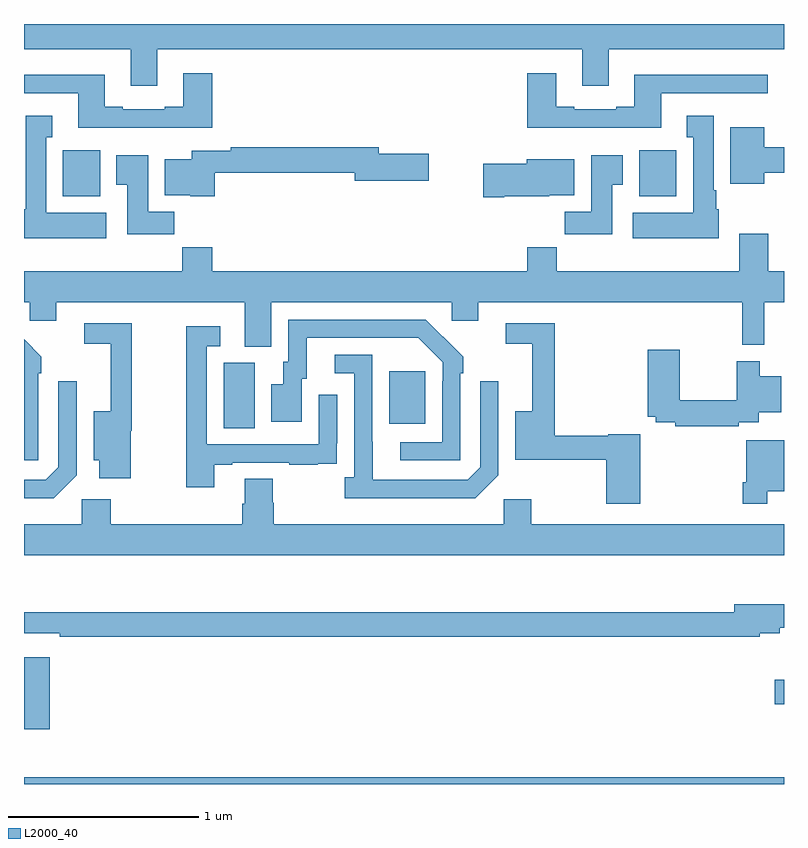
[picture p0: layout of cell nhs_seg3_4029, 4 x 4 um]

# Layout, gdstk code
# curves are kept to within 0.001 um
import gdstk
lib = gdstk.Library(unit=1e-6, precision=1e-09)
def R(c, l, rs):  # rectangles x0, y0, x1, y1
    for r in rs: c.add(gdstk.rectangle(r[:2], r[2:], *l))
def P(c, l, *ps):  # polygons
    for p in ps: c.add(gdstk.Polygon(p, *l))
L2000_40 = (2000, 40)

nhs_seg3_4029 = lib.new_cell('nhs_seg3_4029')
R(nhs_seg3_4029, L2000_40, [(323,678.4,327,678.436), (323,678.687,323.135,679.068), (326.952,678.82,327,678.949), (324.05,680.272,324.214,680.616), (324.923,680.297,325.111,680.572), (323.204,681.494,323.401,681.736), (326.237,681.494,326.434,681.736)])
P(nhs_seg3_4029, L2000_40, [(323.701,682.268),(325.937,682.268),(325.937,682.074),(326.077,682.074),(326.077,682.268),(327,682.268),(327,682.4),(323,682.4),(323,682.268),(323.561,682.268),(323.561,682.074),(323.701,682.074)],
  [(323.99,682.141),(323.837,682.141),(323.837,681.964),(323.741,681.964),(323.741,681.951),(323.521,681.951),(323.521,681.964),(323.425,681.964),(323.425,682.132),(323,682.132),(323,682.035),(323.285,682.035),(323.285,681.854),(323.99,681.854)],
  [(326.353,682.035),(326.914,682.035),(326.914,682.132),(326.213,682.132),(326.213,681.964),(326.117,681.964),(326.117,681.951),(325.897,681.951),(325.897,681.964),(325.801,681.964),(325.801,682.141),(325.649,682.141),(325.649,681.854),(326.353,681.854)],
  [(323.434,681.406),(323.116,681.406),(323.116,681.803),(323.149,681.803),(323.149,681.916),(323.009,681.916),(323.009,681.426),(323,681.426),(323,681.272),(323.434,681.272)],
  [(326.656,681.426),(326.644,681.426),(326.644,681.526),(326.629,681.526),(326.629,681.916),(326.489,681.916),(326.489,681.803),(326.522,681.803),(326.522,681.406),(326.205,681.406),(326.205,681.272),(326.656,681.272)],
  [(326.896,681.616),(327,681.616),(327,681.752),(326.896,681.752),(326.896,681.856),(326.717,681.856),(326.717,681.56),(326.896,681.56)],
  [(324.005,681.616),(324.74,681.616),(324.74,681.574),(325.129,681.574),(325.129,681.716),(324.868,681.716),(324.868,681.752),(324.088,681.752),(324.088,681.732),(323.882,681.732),(323.882,681.688),(323.741,681.688),(323.741,681.5),(323.874,681.5),(323.874,681.494),(324.005,681.494)],
  [(326.095,681.553),(326.152,681.553),(326.152,681.709),(325.985,681.709),(325.985,681.412),(325.846,681.412),(325.846,681.294),(326.095,681.294)],
  [(323.792,681.412),(323.653,681.412),(323.653,681.709),(323.486,681.709),(323.486,681.553),(323.543,681.553),(323.543,681.294),(323.792,681.294)],
  [(325.528,681.494),(325.764,681.494),(325.764,681.5),(325.897,681.5),(325.897,681.688),(325.646,681.688),(325.646,681.665),(325.416,681.665),(325.416,681.487),(325.528,681.487)],
  [(324.301,680.936),(325.251,680.936),(325.251,680.838),(325.39,680.838),(325.39,680.936),(326.779,680.936),(326.779,680.711),(326.897,680.711),(326.897,680.936),(327,680.936),(327,681.1),(326.918,681.1),(326.918,681.295),(326.765,681.295),(326.765,681.1),(325.805,681.1),(325.805,681.224),(325.649,681.224),(325.649,681.1),(323.99,681.1),(323.99,681.224),(323.833,681.224),(323.833,681.1),(323,681.1),(323,680.936),(323.031,680.936),(323.031,680.838),(323.17,680.838),(323.17,680.936),(324.161,680.936),(324.161,680.701),(324.301,680.701)],
  [(325.296,680.561),(325.311,680.561),(325.311,680.649),(325.114,680.844),(324.39,680.844),(324.39,680.622),(324.365,680.622),(324.365,680.503),(324.302,680.503),(324.302,680.307),(324.463,680.307),(324.463,680.532),(324.487,680.532),(324.487,680.748),(325.075,680.748),(325.203,680.619),(325.203,680.519),(325.2,680.519),(325.2,680.199),(324.981,680.199),(324.981,680.103),(325.296,680.103)],
  [(326.243,680.242),(326.076,680.242),(326.076,680.234),(325.793,680.234),(325.793,680.826),(325.536,680.826),(325.536,680.718),(325.676,680.718),(325.676,680.362),(325.586,680.362),(325.586,680.106),(326.065,680.106),(326.065,679.875),(326.243,679.875)],
  [(323.562,680.258),(323.566,680.258),(323.566,680.826),(323.316,680.826),(323.316,680.718),(323.456,680.718),(323.456,680.362),(323.366,680.362),(323.366,680.105),(323.396,680.105),(323.396,680.01),(323.562,680.01)],
  [(324.001,680.079),(324.097,680.079),(324.097,680.091),(324.397,680.091),(324.397,680.079),(324.545,680.079),(324.545,680.085),(324.647,680.085),(324.647,680.194),(324.648,680.194),(324.648,680.449),(324.552,680.449),(324.552,680.187),(323.961,680.187),(323.961,680.703),(324.034,680.703),(324.034,680.809),(323.853,680.809),(323.853,679.962),(324.001,679.962)],
  [(323.076,680.561),(323.091,680.561),(323.091,680.649),(323,680.74),(323,680.103),(323.076,680.103)],
  [(326.762,680.304),(326.866,680.304),(326.866,680.357),(326.986,680.357),(326.986,680.545),(326.872,680.545),(326.872,680.626),(326.75,680.626),(326.75,680.42),(326.452,680.42),(326.452,680.686),(326.282,680.686),(326.282,680.333),(326.324,680.333),(326.324,680.304),(326.428,680.304),(326.428,680.284),(326.762,680.284)],
  [(325.497,680.025),(325.497,680.521),(325.401,680.521),(325.401,680.067),(325.335,680.001),(324.835,680.001),(324.834,680.658),(324.636,680.658),(324.636,680.562),(324.738,680.562),(324.738,680.014),(324.687,680.014),(324.687,679.904),(325.376,679.904)],
  [(323.277,680.025),(323.277,680.521),(323.181,680.521),(323.181,680.067),(323.115,680.001),(323,680.001),(323,679.904),(323.156,679.904)],
  [(326.911,679.94),(327,679.94),(327,680.209),(326.802,680.209),(326.802,679.987),(326.782,679.987),(326.782,679.875),(326.911,679.875)],
  [(327,679.768),(325.671,679.768),(325.671,679.9),(325.524,679.9),(325.524,679.768),(324.314,679.768),(324.314,679.881),(324.309,679.881),(324.309,680.006),(324.161,680.006),(324.161,679.874),(324.149,679.874),(324.149,679.768),(323.456,679.768),(323.456,679.9),(323.304,679.9),(323.304,679.768),(323,679.768),(323,679.604),(327,679.604)],
  [(326.873,679.193),(326.977,679.193),(326.977,679.223),(327,679.223),(327,679.345),(326.738,679.345),(326.738,679.303),(323,679.303),(323,679.194),(323.188,679.194),(323.188,679.174),(326.873,679.174)])

lib.write_gds('nhs_seg3_4029.gds')
